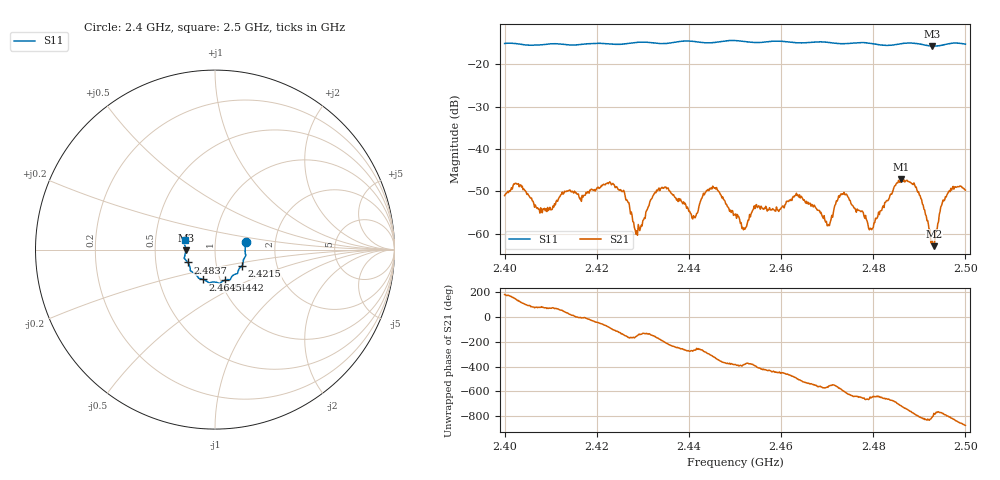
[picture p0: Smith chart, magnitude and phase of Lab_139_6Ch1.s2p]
# Hz S RI R 50
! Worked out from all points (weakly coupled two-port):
!   601 points, 2.4 GHz to 2.5 GHz, reference 50 ohm
!   highest |S21| = -47.19 dB at 2.486 GHz (marker M1); lowest = -62.9 dB at 2.4932 GHz (marker M2)
!   lowest |S11| = -15.7 dB at 2.4928 GHz (marker M3), VSWR 1.39, Z = 36 - j0.368 ohm
!   |S11| at or under -10 dB: start of sweep to end of sweep
!   S12 and S22 are empty: the file has one direction only
!   S11 on the Smith chart (normalised r, x): 2.4 GHz: 1.41, +0.12; 2.4215 GHz: 1.33, -0.25; 2.4442 GHz: 1.05, -0.37; 2.4645 GHz: 0.83, -0.29; 2.4837 GHz: 0.73, -0.11; 2.5 GHz: 0.71, +0.07
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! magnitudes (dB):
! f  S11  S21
! 2.4 GHz  -15.1  -51.0
! 2.4167 GHz  -15.3  -52.4
! 2.4215 GHz  -15.1  -48.3
! 2.4257 GHz  -15.2  -50.0
! 2.4288 GHz  -14.8  -60.3
! 2.4333 GHz  -15.1  -49.6
! 2.441 GHz  -14.6  -55.7
! 2.4442 GHz  -15.0  -49.5
! 2.45 GHz  -14.4  -55.5
! 2.4645 GHz  -15.0  -51.3
! 2.4667 GHz  -14.8  -53.1
! 2.4702 GHz  -14.8  -58.1
! 2.4738 GHz  -15.1  -50.8
! 2.4795 GHz  -15.1  -58.8
! 2.4833 GHz  -15.6  -52.0
! 2.4837 GHz  -15.5  -50.8
! 2.486 GHz  -15.1  -47.2
! 2.4893 GHz  -15.1  -49.0
! 2.4928 GHz  -15.7  -61.6
! 2.4932 GHz  -15.7  -62.9
! 2.496 GHz  -15.2  -50.8
! 2.5 GHz  -15.3  -49.7
